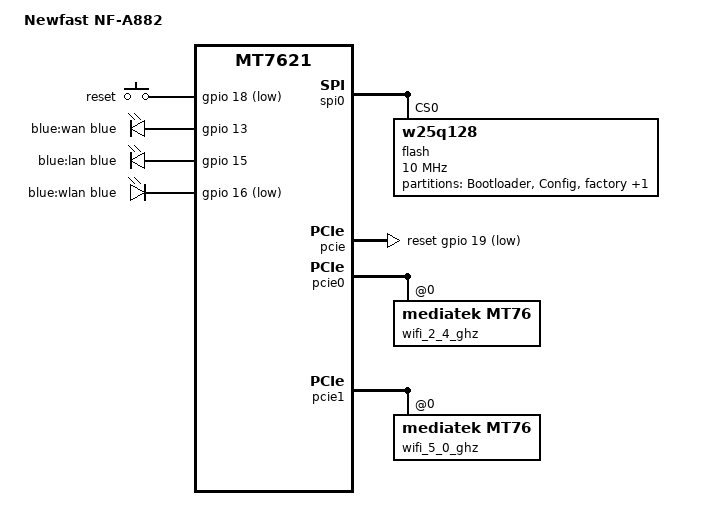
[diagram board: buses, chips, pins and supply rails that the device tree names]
// SPDX-License-Identifier: GPL-2.0-or-later OR MIT

#include "mt7621.dtsi"

#include <dt-bindings/gpio/gpio.h>
#include <dt-bindings/input/input.h>
#include <dt-bindings/leds/common.h>

/ {
	compatible = "newfast,a882", "mediatek,mt7621-soc";
	model = "Newfast NF-A882";

	// There are at least two HW variants of cf-ew72-v2:
	// With external RAM chip and with integrated RAM (RAM chip not soldered).
	// Both act same.

	chosen {
		bootargs = "console=ttyS0,115200";
	};

	keys {
		compatible = "gpio-keys";

		reset {
			label = "reset";
			gpios = <&gpio 18 GPIO_ACTIVE_LOW>;
			linux,code = <KEY_RESTART>;
			debounce-interval = <60>;
		};
	};

	leds {
		compatible = "gpio-leds";

		wan {
			label = "blue:wan";
			function = LED_FUNCTION_WAN;
			color = <LED_COLOR_ID_BLUE>;
			gpios = <&gpio 13 GPIO_ACTIVE_HIGH>;
		};

		lan {
			label = "blue:lan";
			function = LED_FUNCTION_LAN;
			color = <LED_COLOR_ID_BLUE>;
			gpios = <&gpio 15 GPIO_ACTIVE_HIGH>;
		};

		wlan {
			label = "blue:wlan";
			function = LED_FUNCTION_WLAN;
			color = <LED_COLOR_ID_BLUE>;
			gpios = <&gpio 16 GPIO_ACTIVE_LOW>;
		};
	};

	aliases {
		label-mac-device = &wan;
	};
};

&spi0 {
	status = "okay";

	flash@0 {
		compatible = "w25q128";
		reg = <0>;
		spi-max-frequency = <10000000>;
		m25p,fast-read;
		partitions {
			compatible = "fixed-partitions";
			#address-cells = <1>;
			#size-cells = <1>;

			partition@0 {
				label = "Bootloader";
				reg = <0x0 0x30000>;
				read-only;
			};

			partition@30000 {
				label = "Config";
				reg = <0x30000 0x10000>;
				read-only;
			};

			partition@40000  {
				label = "factory";
				reg = <0x40000 0x10000>;
				read-only;

				nvmem-layout {
					compatible = "fixed-layout";
					#address-cells = <1>;
					#size-cells = <1>;

					eeprom_factory_0: eeprom@0 {
						reg = <0x0 0x400>;
					};

					eeprom_factory_8000: eeprom@8000 {
						reg = <0x8000 0x4da8>;
					};

					macaddr_factory_e000: macaddr@e000 {
						compatible = "mac-base";
						reg = <0xe000 0x6>;
						#nvmem-cell-cells = <1>;
					};

					// Serial number can be found in "factory" at 0xE100.
					//   it starts and ends with double quotes `"` and is ASCII string
				};
			};

			partition@50000  {
				label = "firmware";
				compatible = "denx,uimage";
				reg = <0x50000 0xfb0000>;
			};
		};
	};
};

&gpio {
	groups = "i2c", "uart2", "uart3", "sdhci", "jtag", "mdio";
	function = "gpio";
};

&gmac0 {
	nvmem-cells = <&macaddr_factory_e000 0>;
	nvmem-cell-names = "mac-address";
};

&pcie {
	status = "okay";
	reset-gpios = <&gpio 19 GPIO_ACTIVE_LOW>;
};

&pcie0 {
	wifi_2_4_ghz: wifi@0,0 {
		compatible = "mediatek,mt76";
		reg = <0x0000 0 0 0 0>;
		nvmem-cells = <&eeprom_factory_0>;
		nvmem-cell-names = "eeprom";
		// Wi-Fi device reads it's MAC address from EEPROM (&factory + 4)
		// adding anything related to mac-address here will cause use random MAC
	};
};

&pcie1 {
	wifi_5_0_ghz: wifi@0,0 {
		compatible = "mediatek,mt76";
		reg = <0x0000 0 0 0 0>;
		nvmem-cells = <&eeprom_factory_8000>;
		nvmem-cell-names = "eeprom";
		// Wi-Fi device reads it's MAC address from EEPROM, (&factory + 0x8000 + 4)
		// adding anything related to mac-address here will cause use random MAC.
	};
};

&pcie2 {
	status = "disabled";
};

&switch0 {
	compatible = "mediatek,mt7530";
	mediatek,mcm;
	resets = <&sysc 2>;
	reset-names = "mcm";
	ports {
		wan: port@0 {
			status = "okay";
			label = "wan";
			nvmem-cells = <&macaddr_factory_e000 1>;
			nvmem-cell-names = "mac-address";
		};

		lan1: port@1 {
			status = "okay";
			label = "lan1";
			nvmem-cells = <&macaddr_factory_e000 0>;
			nvmem-cell-names = "mac-address";
		};
                
                lan2: port@2 {
                        status = "okay";
                        label = "lan2";
                };

	};
};
